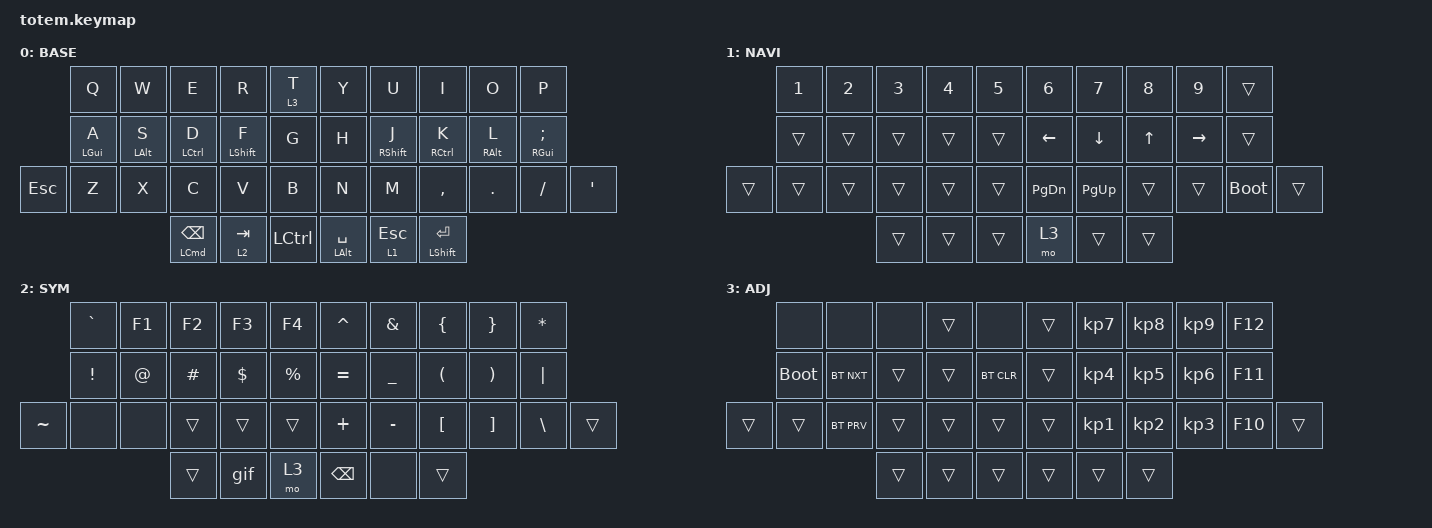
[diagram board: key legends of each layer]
//
//                                                        ▀▀▀▀▀     ▀▀▀▀▀          ▀▀█▀▀
//                                                        ▄▀▀▀▄  ▄  ▄▀▀▀▄  ▄  ▄▀▀▀▄  █  ▄▀▀▀▄
//                                                        █   █  █  █   █  █  █   █  █  █   █
//                                                         ▀▀▀   █   ▀▀▀   █   ▀▀▀   ▀   ▀▀▀
//                                                               █      ▄▄▄█▄▄▄    █   █  
//                                                               ▀      █  █  █     █▄█
//                                                             ▀▀▀▀▀    █  █  █      ▀
//                                                                      ▀  ▀  ▀
//
// ▄▄▄▄▄▄▄▄▄▄▄▄▄▄▄▄▄▄▄▄▄▄▄▄▄▄▄▄▄▄▄▄▄▄▄▄▄▄▄▄▄▄▄▄▄▄▄▄▄▄▄▄▄▄▄▄▄▄▄▄▄▄▄▄▄▄▄▄▄▄▄▄▄▄▄▄▄▄▄▄▄▄▄▄▄▄▄▄▄▄▄▄▄▄▄▄▄▄▄▄▄▄▄▄▄▄▄▄▄▄▄▄▄▄▄▄▄▄▄▄▄▄▄▄▄▄▄▄▄▄▄▄▄▄▄▄▄▄▄▄▄▄▄▄▄▄▄▄▄

#include <behaviors.dtsi>
#include <dt-bindings/zmk/bt.h>
#include <dt-bindings/zmk/keys.h>

#define BASE 0
#define NAV  1
#define SYM  2
#define ADJ  3
#define TVP1 4
#define TVP2 5

&mt {
    quick-tap-ms = <100>;
    global-quick-tap;
    flavor = "tap-preferred";
    tapping-term-ms = <170>;
};

/ {
    combos {
        compatible = "zmk,combos";

        combo_esc {
            timeout-ms = <50>;
            key-positions = <0 1>;
            bindings = <&kp ESC>;
        };

        combo_tvp {
            timeout-ms = <100>;
            key-positions = <11 12 13>;
            bindings = <&tog 0>;
        };
    };

    macros {
        gif: gif {
            label = "giphy";
            compatible = "zmk,behavior-macro";
            #binding-cells = <0>;
            bindings =
                <&macro_press>,
                <&kp LSHFT>,
                <&macro_tap>,
                <&kp N2>,
                <&macro_release>,
                <&kp LSHFT>,
                <&macro_tap>,
                <&kp G &kp I &kp F>;
        };
    };

    keymap {
        compatible = "zmk,keymap";

        // ▄▄▄▄▄▄▄▄▄▄▄▄▄▄▄▄▄▄▄▄▄▄▄▄▄▄▄▄▄▄▄▄▄▄▄▄▄▄▄▄▄▄▄▄▄▄▄▄▄▄▄▄▄▄▄▄▄▄▄▄▄▄▄▄▄▄▄▄▄▄▄▄▄▄▄▄▄▄▄▄▄▄▄▄▄▄▄▄▄▄▄▄▄▄▄▄▄▄▄▄▄▄▄▄▄▄▄▄▄▄▄▄▄▄▄▄▄▄▄▄▄▄▄▄▄▄▄▄▄▄▄▄▄▄▄▄▄▄▄▄▄▄▄▄▄▄▄▄▄

        base_layer {
            // ┏━━━━━━━━━━━━━━━━━━━━━━━━━━━━━━━━━━━━━━━┓

            label = "BASE";

            // ┗━━━━━━━━━━━━━━━━━━━━━━━━━━━━━━━━━━━━━━━┛
            //             ┏━━━━━━━━━━━┳━━━━━━━━━━━┳━━━━━━━━━━━┳━━━━━━━━━━━┳━━━━━━━━━━━┓   ┏━━━━━━━━━━━┳━━━━━━━━━━━┳━━━━━━━━━━━┳━━━━━━━━━━━┳━━━━━━━━━━━┓
            //             ┃     Q     ┃     W     ┃     F     ┃     P     ┃     G     ┃   ┃     J     ┃     L     ┃     U     ┃     Y     ┃     ;     ┃
            //             ┣━━━━━━━━━━━╋━━━━━━━━━━━╋━━━━━━━━━━━╋━━━━━━━━━━━╋━━━━━━━━━━━┫   ┣━━━━━━━━━━━╋━━━━━━━━━━━╋━━━━━━━━━━━╋━━━━━━━━━━━╋━━━━━━━━━━━┫
            //             ┃     A     ┃     R     ┃     S     ┃     T     ┃     D     ┃   ┃     H     ┃     N     ┃     E     ┃     I     ┃     O     ┃
            // ┏━━━━━━━━━━━╋━━━━━━━━━━━╋━━━━━━━━━━━╋━━━━━━━━━━━╋━━━━━━━━━━━╋━━━━━━━━━━━┫   ┣━━━━━━━━━━━╋━━━━━━━━━━━╋━━━━━━━━━━━╋━━━━━━━━━━━╋━━━━━━━━━━━╋━━━━━━━━━━━┓
            // ┃     Q     ┃     Z     ┃     X     ┃     C     ┃     V     ┃     B     ┃   ┃     K     ┃     M     ┃     ,     ┃     .     ┃     /     ┃     \     ┃
            // ┗━━━━━━━━━━━┻━━━━━━━━━━━┻━━━━━━━━━━━╋━━━━━━━━━━━╋━━━━━━━━━━━╋━━━━━━━━━━━┫   ┣━━━━━━━━━━━╋━━━━━━━━━━━╋━━━━━━━━━━━╋━━━━━━━━━━━┻━━━━━━━━━━━┻━━━━━━━━━━━┛
            //                                     ┃    DEL    ┃    TAB    ┃    SPC    ┃   ┃   ENTER   ┃           ┃   BSPC    ┃
            //                                     ┗━━━━━━━━━━━┻━━━━━━━━━━━┻━━━━━━━━━━━┛   ┗━━━━━━━━━━━┻━━━━━━━━━━━┻━━━━━━━━━━━┛

            bindings = <
         &kp Q       &kp W       &kp E                       &kp R        &lt 3 T      &kp Y               &kp U        &kp I              &kp O       &kp P
         &mt LGUI A  &mt LALT S  &mt LCTRL D                 &mt LSHFT F  &kp G        &kp H               &mt RSHFT J  &mt RCTRL K        &mt RALT L  &mt RGUI SEMI
&kp ESC  &kp Z       &kp X       &kp C                       &kp V        &kp B        &kp N               &kp M        &kp COMMA          &kp DOT     &kp FSLH       &kp SINGLE_QUOTE
                                 &mt LEFT_COMMAND BACKSPACE  &lt 2 TAB    &kp LCTRL    &mt LEFT_ALT SPACE  &lt 1 ESC    &mt LSHIFT RETURN
            >;
        };

        // ▄▄▄▄▄▄▄▄▄▄▄▄▄▄▄▄▄▄▄▄▄▄▄▄▄▄▄▄▄▄▄▄▄▄▄▄▄▄▄▄▄▄▄▄▄▄▄▄▄▄▄▄▄▄▄▄▄▄▄▄▄▄▄▄▄▄▄▄▄▄▄▄▄▄▄▄▄▄▄▄▄▄▄▄▄▄▄▄▄▄▄▄▄▄▄▄▄▄▄▄▄▄▄▄▄▄▄▄▄▄▄▄▄▄▄▄▄▄▄▄▄▄▄▄▄▄▄▄▄▄▄▄▄▄▄▄▄▄▄▄▄▄▄▄▄▄▄▄▄

        nav_layer {
            // ┏━━━━━━━━━━━━━━━━━━━━━━━━━━━━━━━━━━━━━━━┓

            label = "NAVI";

            // ┗━━━━━━━━━━━━━━━━━━━━━━━━━━━━━━━━━━━━━━━┛
            //             ┏━━━━━━━━━━━┳━━━━━━━━━━━┳━━━━━━━━━━━┳━━━━━━━━━━━┳━━━━━━━━━━━┓   ┏━━━━━━━━━━━┳━━━━━━━━━━━┳━━━━━━━━━━━┳━━━━━━━━━━━┳━━━━━━━━━━━┓
            //             ┃           ┃           ┃     UP    ┃           ┃     {     ┃   ┃     }     ┃     7     ┃     8     ┃     9     ┃     +     ┃
            //             ┣━━━━━━━━━━━╋━━━━━━━━━━━╋━━━━━━━━━━━╋━━━━━━━━━━━╋━━━━━━━━━━━┫   ┣━━━━━━━━━━━╋━━━━━━━━━━━╋━━━━━━━━━━━╋━━━━━━━━━━━╋━━━━━━━━━━━┫
            //             ┃   SHIFT   ┃   LEFT    ┃    DOWN   ┃   RIGHT   ┃     [     ┃   ┃     ]     ┃     4     ┃     5     ┃     6     ┃     -     ┃
            // ┏━━━━━━━━━━━╋━━━━━━━━━━━╋━━━━━━━━━━━╋━━━━━━━━━━━╋━━━━━━━━━━━╋━━━━━━━━━━━┫   ┣━━━━━━━━━━━╋━━━━━━━━━━━╋━━━━━━━━━━━╋━━━━━━━━━━━╋━━━━━━━━━━━╋━━━━━━━━━━━┓
            // ┃           ┃           ┃   P UP    ┃  C LOCK   ┃  P DOWN   ┃     (     ┃   ┃     )     ┃     1     ┃     2     ┃     3     ┃     *     ┃           ┃
            // ┗━━━━━━━━━━━┻━━━━━━━━━━━┻━━━━━━━━━━━╋━━━━━━━━━━━╋━━━━━━━━━━━╋━━━━━━━━━━━┫   ┣━━━━━━━━━━━╋━━━━━━━━━━━╋━━━━━━━━━━━╋━━━━━━━━━━━┻━━━━━━━━━━━┻━━━━━━━━━━━┛
            //                                     ┃           ┃    TAB    ┃    SPC    ┃   ┃    DEL    ┃     0     ┃           ┃
            //                                     ┗━━━━━━━━━━━┻━━━━━━━━━━━┻━━━━━━━━━━━┛   ┗━━━━━━━━━━━┻━━━━━━━━━━━┻━━━━━━━━━━━┛

            bindings = <
        &kp NUMBER_1  &kp NUMBER_2  &kp NUMBER_3  &kp NUMBER_4  &kp NUMBER_5    &kp N6          &kp N7     &kp N8        &kp N9     &trans
        &trans        &trans        &trans        &trans        &trans          &kp LEFT_ARROW  &kp DOWN   &kp UP_ARROW  &kp RIGHT  &trans
&trans  &trans        &trans        &trans        &trans        &trans          &kp PG_DN       &kp PG_UP  &trans        &trans     &bootloader  &trans
                                    &trans        &trans        &trans          &mo 3           &trans     &trans
            >;
        };

        // ▄▄▄▄▄▄▄▄▄▄▄▄▄▄▄▄▄▄▄▄▄▄▄▄▄▄▄▄▄▄▄▄▄▄▄▄▄▄▄▄▄▄▄▄▄▄▄▄▄▄▄▄▄▄▄▄▄▄▄▄▄▄▄▄▄▄▄▄▄▄▄▄▄▄▄▄▄▄▄▄▄▄▄▄▄▄▄▄▄▄▄▄▄▄▄▄▄▄▄▄▄▄▄▄▄▄▄▄▄▄▄▄▄▄▄▄▄▄▄▄▄▄▄▄▄▄▄▄▄▄▄▄▄▄▄▄▄▄▄▄▄▄▄▄▄▄▄▄▄

        code {
            // ┏━━━━━━━━━━━━━━━━━━━━━━━━━━━━━━━━━━━━━━━┓

            label = "SYM";

            // ┗━━━━━━━━━━━━━━━━━━━━━━━━━━━━━━━━━━━━━━━┛
            //             ┏━━━━━━━━━━━┳━━━━━━━━━━━┳━━━━━━━━━━━┳━━━━━━━━━━━┳━━━━━━━━━━━┓   ┏━━━━━━━━━━━┳━━━━━━━━━━━┳━━━━━━━━━━━┳━━━━━━━━━━━┳━━━━━━━━━━━┓
            //             ┃     !     ┃     @     ┃     #     ┃     $     ┃     %     ┃   ┃     ˆ     ┃     &     ┃     Ü     ┃     '     ┃     "     ┃
            //             ┣━━━━━━━━━━━╋━━━━━━━━━━━╋━━━━━━━━━━━╋━━━━━━━━━━━╋━━━━━━━━━━━┫   ┣━━━━━━━━━━━╋━━━━━━━━━━━╋━━━━━━━━━━━╋━━━━━━━━━━━╋━━━━━━━━━━━┫
            //             ┃     Ä     ┃           ┃    SZ     ┃           ┃           ┃   ┃   MUTE    ┃   YEN     ┃   EURO    ┃  POUND    ┃     Ö     ┃
            // ┏━━━━━━━━━━━╋━━━━━━━━━━━╋━━━━━━━━━━━╋━━━━━━━━━━━╋━━━━━━━━━━━╋━━━━━━━━━━━┫   ┣━━━━━━━━━━━╋━━━━━━━━━━━╋━━━━━━━━━━━╋━━━━━━━━━━━╋━━━━━━━━━━━╋━━━━━━━━━━━┓
            // ┃           ┃  EMAIL1   ┃  EMAIL2   ┃           ┃           ┃           ┃   ┃   VOL-    ┃   VOL+    ┃   LAST    ┃   NEXT    ┃     \     ┃           ┃
            // ┗━━━━━━━━━━━┻━━━━━━━━━━━┻━━━━━━━━━━━╋━━━━━━━━━━━╋━━━━━━━━━━━╋━━━━━━━━━━━┫   ┣━━━━━━━━━━━╋━━━━━━━━━━━╋━━━━━━━━━━━╋━━━━━━━━━━━┻━━━━━━━━━━━┻━━━━━━━━━━━┛
            //                                     ┃           ┃    GIF    ┃    ADJ    ┃   ┃           ┃           ┃           ┃
            //                                     ┗━━━━━━━━━━━┻━━━━━━━━━━━┻━━━━━━━━━━━┛   ┗━━━━━━━━━━━┻━━━━━━━━━━━┻━━━━━━━━━━━┛

            bindings = <
           &kp GRAVE        &kp F1  &kp F2    &kp F3      &kp F4         &kp CARET      &kp AMPS   &kp LEFT_BRACE        &kp RIGHT_BRACE        &kp ASTERISK
           &kp EXCLAMATION  &kp AT  &kp HASH  &kp DOLLAR  &kp PERCENT    &kp EQUAL      &kp UNDER  &kp LEFT_PARENTHESIS  &kp RIGHT_PARENTHESIS  &kp PIPE
&kp TILDE  &none            &none   &trans    &trans      &trans         &kp PLUS       &kp MINUS  &kp LEFT_BRACKET      &kp RIGHT_BRACKET      &kp BSLH      &trans
                                    &trans    &gif        &mo 3          &kp BACKSPACE  &none      &trans
            >;
        };

        // ▄▄▄▄▄▄▄▄▄▄▄▄▄▄▄▄▄▄▄▄▄▄▄▄▄▄▄▄▄▄▄▄▄▄▄▄▄▄▄▄▄▄▄▄▄▄▄▄▄▄▄▄▄▄▄▄▄▄▄▄▄▄▄▄▄▄▄▄▄▄▄▄▄▄▄▄▄▄▄▄▄▄▄▄▄▄▄▄▄▄▄▄▄▄▄▄▄▄▄▄▄▄▄▄▄▄▄▄▄▄▄▄▄▄▄▄▄▄▄▄▄▄▄▄▄▄▄▄▄▄▄▄▄▄▄▄▄▄▄▄▄▄▄▄▄▄▄▄▄

        bt_numpad {
            // ┏━━━━━━━━━━━━━━━━━━━━━━━━━━━━━━━━━━━━━━━┓

            label = "ADJ";

            // ┗━━━━━━━━━━━━━━━━━━━━━━━━━━━━━━━━━━━━━━━┛
            //             ┏━━━━━━━━━━━┳━━━━━━━━━━━┳━━━━━━━━━━━┳━━━━━━━━━━━┳━━━━━━━━━━━┓   ┏━━━━━━━━━━━┳━━━━━━━━━━━┳━━━━━━━━━━━┳━━━━━━━━━━━┳━━━━━━━━━━━┓
            //             ┃   RESET   ┃ BT CLEAR  ┃  OUT TOG  ┃           ┃           ┃   ┃           ┃    F7     ┃    F8     ┃    F9     ┃    F12    ┃
            //             ┣━━━━━━━━━━━╋━━━━━━━━━━━╋━━━━━━━━━━━╋━━━━━━━━━━━╋━━━━━━━━━━━┫   ┣━━━━━━━━━━━╋━━━━━━━━━━━╋━━━━━━━━━━━╋━━━━━━━━━━━╋━━━━━━━━━━━┫
            //             ┃ BOOTLOAD  ┃ BT NEXT   ┃           ┃           ┃           ┃   ┃           ┃    F4     ┃    F5     ┃    F6     ┃    F11    ┃
            // ┏━━━━━━━━━━━╋━━━━━━━━━━━╋━━━━━━━━━━━╋━━━━━━━━━━━╋━━━━━━━━━━━╋━━━━━━━━━━━┫   ┣━━━━━━━━━━━╋━━━━━━━━━━━╋━━━━━━━━━━━╋━━━━━━━━━━━╋━━━━━━━━━━━╋━━━━━━━━━━━┓
            // ┃           ┃           ┃ BT PREV   ┃           ┃           ┃           ┃   ┃           ┃    F1     ┃    F2     ┃    F3     ┃    F10    ┃           ┃
            // ┗━━━━━━━━━━━┻━━━━━━━━━━━┻━━━━━━━━━━━╋━━━━━━━━━━━╋━━━━━━━━━━━╋━━━━━━━━━━━┫   ┣━━━━━━━━━━━╋━━━━━━━━━━━╋━━━━━━━━━━━╋━━━━━━━━━━━┻━━━━━━━━━━━┻━━━━━━━━━━━┛
            //                                     ┃           ┃           ┃           ┃   ┃           ┃           ┃           ┃
            //                                     ┗━━━━━━━━━━━┻━━━━━━━━━━━┻━━━━━━━━━━━┛   ┗━━━━━━━━━━━┻━━━━━━━━━━━┻━━━━━━━━━━━┛

            bindings = <
        &none        &none       &none   &trans  &none         &trans  &kp KP_N7  &kp KP_N8        &kp KP_N9  &kp F12
        &bootloader  &bt BT_NXT  &trans  &trans  &bt BT_CLR    &trans  &kp KP_N4  &kp KP_NUMBER_5  &kp KP_N6  &kp F11
&trans  &trans       &bt BT_PRV  &trans  &trans  &trans        &trans  &kp KP_N1  &kp KP_N2        &kp KP_N3  &kp F10  &trans
                                 &trans  &trans  &trans        &trans  &trans     &trans
            >;
        };

        // ▄▄▄▄▄▄▄▄▄▄▄▄▄▄▄▄▄▄▄▄▄▄▄▄▄▄▄▄▄▄▄▄▄▄▄▄▄▄▄▄▄▄▄▄▄▄▄▄▄▄▄▄▄▄▄▄▄▄▄▄▄▄▄▄▄▄▄▄▄▄▄▄▄▄▄▄▄▄▄▄▄▄▄▄▄▄▄▄▄▄▄▄▄▄▄▄▄▄▄▄▄▄▄▄▄▄▄▄▄▄▄▄▄▄▄▄▄▄▄▄▄▄▄▄▄▄▄▄▄▄▄▄▄▄▄▄▄▄▄▄▄▄▄▄▄▄▄▄▄
        // ▄▄▄▄▄▄▄▄▄▄▄▄▄▄▄▄▄▄▄▄▄▄▄▄▄▄▄▄▄▄▄▄▄▄▄▄▄▄▄▄▄▄▄▄▄▄▄▄▄▄▄▄▄▄▄▄▄▄▄▄▄▄▄▄▄▄▄▄▄▄▄▄▄▄▄▄▄▄▄▄▄▄▄▄▄▄▄▄▄▄▄▄▄▄▄▄▄▄▄▄▄▄▄▄▄▄▄▄▄▄▄▄▄▄▄▄▄▄▄▄▄▄▄▄▄▄▄▄▄▄▄▄▄▄▄▄▄▄▄▄▄▄▄▄▄▄▄▄▄
    };
};
